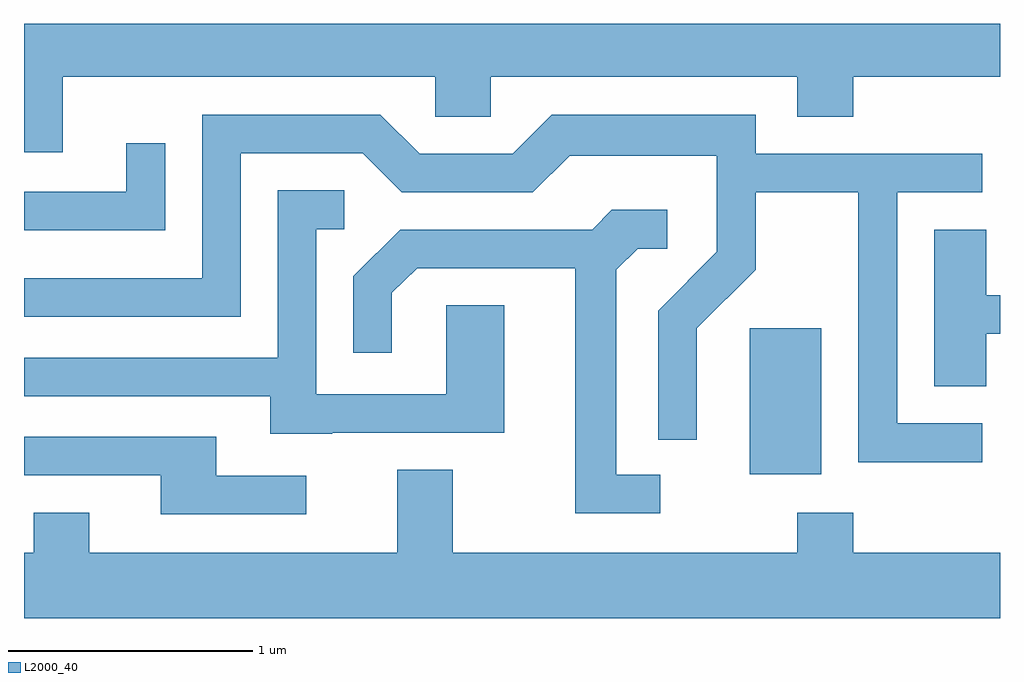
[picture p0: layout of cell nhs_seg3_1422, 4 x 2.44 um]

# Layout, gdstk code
import gdstk
lib = gdstk.Library(unit=1e-6, precision=1e-09)
def R(c, l, rs):  # rectangles x0, y0, x1, y1
    for r in rs: c.add(gdstk.rectangle(r[:2], r[2:], *l))
def P(c, l, *ps):  # polygons
    for p in ps: c.add(gdstk.Polygon(p, *l))
L2000_40 = (2000, 40)

nhs_seg3_1422 = lib.new_cell('nhs_seg3_1422')
R(nhs_seg3_1422, L2000_40, [(228.586,1242.046,228.879,1242.644)])
P(nhs_seg3_1422, L2000_40, [(225.769,1243.676),(227.296,1243.676),(227.296,1243.511),(227.524,1243.511),(227.524,1243.676),(228.781,1243.676),(228.781,1243.511),(229.009,1243.511),(229.009,1243.676),(229.611,1243.676),(229.611,1243.892),(225.611,1243.892),(225.611,1243.366),(225.769,1243.366)],
  [(229.538,1242.254),(229.189,1242.254),(229.189,1243.201),(229.538,1243.201),(229.538,1243.359),(228.609,1243.359),(228.609,1243.519),(227.774,1243.519),(227.614,1243.359),(227.232,1243.359),(227.072,1243.519),(226.341,1243.519),(226.341,1242.849),(225.611,1242.849),(225.611,1242.691),(226.499,1242.691),(226.499,1243.361),(226.999,1243.361),(227.159,1243.201),(227.697,1243.201),(227.847,1243.351),(228.451,1243.351),(228.451,1242.957),(228.211,1242.717),(228.211,1242.188),(228.369,1242.188),(228.369,1242.644),(228.609,1242.884),(228.609,1243.201),(229.031,1243.201),(229.031,1242.096),(229.538,1242.096)],
  [(226.189,1243.403),(226.031,1243.403),(226.031,1243.204),(225.611,1243.204),(225.611,1243.046),(226.189,1243.046)],
  [(226.875,1242.216),(227.579,1242.216),(227.579,1242.739),(227.341,1242.739),(227.341,1242.374),(226.809,1242.374),(226.809,1243.051),(226.923,1243.051),(226.923,1243.209),(226.651,1243.209),(226.651,1242.524),(225.611,1242.524),(225.611,1242.366),(226.621,1242.366),(226.621,1242.211),(226.875,1242.211)],
  [(228.218,1242.044),(228.039,1242.044),(228.039,1242.884),(228.127,1242.971),(228.248,1242.971),(228.248,1243.129),(228.019,1243.129),(227.939,1243.049),(227.154,1243.049),(226.961,1242.857),(226.961,1242.543),(227.119,1242.543),(227.119,1242.789),(227.222,1242.891),(227.871,1242.891),(227.871,1241.886),(228.218,1241.886)],
  [(229.554,1242.621),(229.611,1242.621),(229.611,1242.779),(229.554,1242.779),(229.554,1243.049),(229.341,1243.049),(229.341,1242.406),(229.554,1242.406)],
  [(226.768,1242.039),(226.399,1242.039),(226.399,1242.199),(225.611,1242.199),(225.611,1242.041),(226.171,1242.041),(226.171,1241.881),(226.768,1241.881)],
  [(229.611,1241.724),(229.009,1241.724),(229.009,1241.889),(228.781,1241.889),(228.781,1241.724),(227.369,1241.724),(227.369,1242.064),(227.141,1242.064),(227.141,1241.724),(225.879,1241.724),(225.879,1241.889),(225.651,1241.889),(225.651,1241.724),(225.611,1241.724),(225.611,1241.456),(229.611,1241.456)])

lib.write_gds('nhs_seg3_1422.gds')
